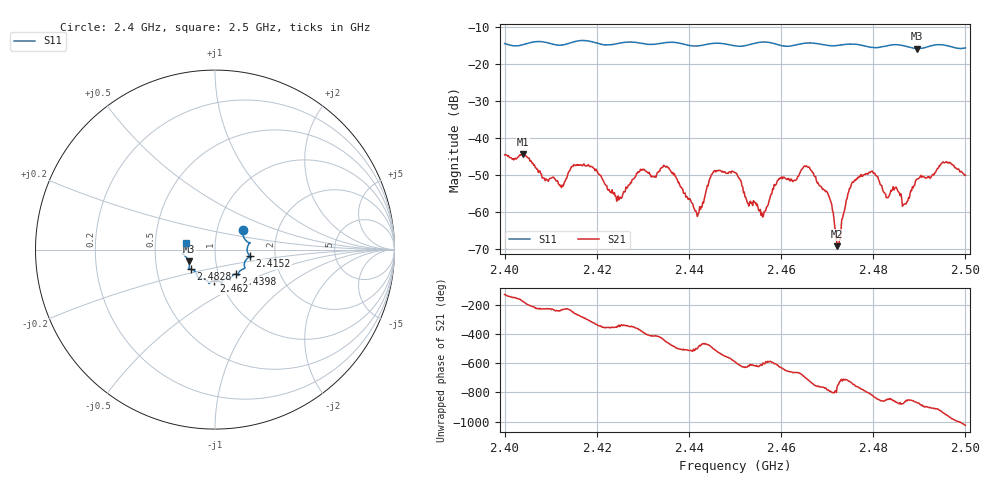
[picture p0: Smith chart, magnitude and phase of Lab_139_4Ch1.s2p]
# Hz S RI R 50
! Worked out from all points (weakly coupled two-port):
!   601 points, 2.4 GHz to 2.5 GHz, reference 50 ohm
!   highest |S21| = -44.42 dB at 2.404 GHz (marker M1); lowest = -69.3 dB at 2.4722 GHz (marker M2)
!   lowest |S11| = -15.9 dB at 2.4895 GHz (marker M3), VSWR 1.38, Z = 37 - j4.98 ohm
!   |S11| at or under -10 dB: start of sweep to end of sweep
!   S12 and S22 are empty: the file has one direction only
!   S11 on the Smith chart (normalised r, x): 2.4 GHz: 1.33, +0.29; 2.4152 GHz: 1.48, -0.12; 2.4398 GHz: 1.21, -0.34; 2.462 GHz: 0.93, -0.33; 2.4828 GHz: 0.74, -0.17; 2.5 GHz: 0.72, +0.06
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2.4e9  0.155 0.1065  -0.00379 -0.00447  0 0  0 0
2.404e9  0.1749 0.048  -0.006 -0.000254  0 0  0 0
2.412167e9  0.1788 -0.00291  -0.00122 0.00192  0 0  0 0
2.415167e9  0.1955 -0.0378  -0.000808 0.00412  0 0  0 0
2.416667e9  0.2023 -0.0428  0.000905 0.00418  0 0  0 0
2.424833e9  0.1646 -0.0948  0.00134 0.000528  0 0  0 0
2.433333e9  0.1306 -0.1337  0.00187 -0.00286  0 0  0 0
2.439833e9  0.115 -0.1362  -0.0013 -0.00067  0 0  0 0
2.442e9  0.0955 -0.1463  -0.000602 -0.000701  0 0  0 0
2.445333e9  0.0848 -0.169  -0.00274 -0.0021  0 0  0 0
2.45e9  0.0651 -0.1625  -0.00215 0.00258  0 0  0 0
2.455833e9  0.0384 -0.193  -0.000236 0.000932  0 0  0 0
2.462e9  -0.00496 -0.1737  0.00126 0.00229  0 0  0 0
2.466667e9  -0.0345 -0.1881  0.00341 -0.000968  0 0  0 0
2.4705e9  -0.0532 -0.1678  0.000489 -0.00148  0 0  0 0
2.472167e9  -0.0719 -0.1615  0.000264 -0.000217  0 0  0 0
2.475833e9  -0.0947 -0.1584  0.00232 -0.00111  0 0  0 0
2.482833e9  -0.1364 -0.1092  -0.000946 -0.00122  0 0  0 0
2.483333e9  -0.1401 -0.1089  -0.000924 -0.00129  0 0  0 0
2.486833e9  -0.1438 -0.0982  -0.001 -0.000776  0 0  0 0
2.4895e9  -0.1462 -0.0657  -0.00239 -0.00139  0 0  0 0
2.5e9  -0.1592 0.0389  0.00181 0.00254  0 0  0 0
